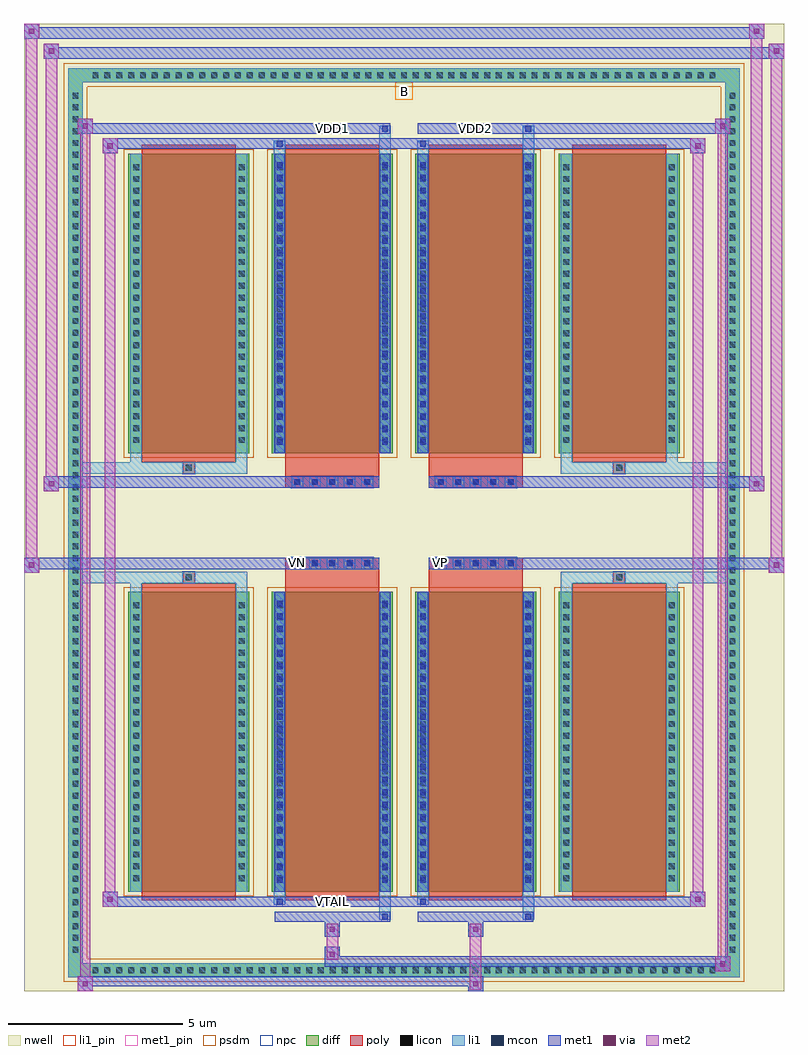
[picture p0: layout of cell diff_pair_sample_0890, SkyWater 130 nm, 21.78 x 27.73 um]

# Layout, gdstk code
import gdstk
lib = gdstk.Library(unit=1e-6, precision=5e-09)
def R(c, l, rs):  # rectangles x0, y0, x1, y1
    for r in rs: c.add(gdstk.rectangle(r[:2], r[2:], *l))
def A(c, l, x, y, w, h, nx, ny, dx, dy):  # array of equal rectangles
    R(c, l, [(x+i*dx, y+j*dy, x+i*dx+w, y+j*dy+h) for i in range(nx) for j in range(ny)])
def P(c, l, *ps):  # polygons
    for p in ps: c.add(gdstk.Polygon(p, *l))
nwell = (64, 20)
diff = (65, 20)
poly = (66, 20)
licon = (66, 44)
li1_pin = (67, 16)
li1 = (67, 20)
mcon = (67, 44)
met1_pin = (68, 16)
met1 = (68, 20)
via = (68, 44)
met2 = (69, 20)
psdm = (94, 20)
npc = (95, 20)

diff_pair_sample_0890 = lib.new_cell('diff_pair_sample_0890')
R(diff_pair_sample_0890, nwell, [(-10.89,-13.43,10.89,14.3), (-8.21,-11.62,-0.01,-0.8), (0.01,-11.62,8.21,-0.8), (-8.21,0.8,-0.01,11.62), (0.01,0.8,8.21,11.62)])
A(diff_pair_sample_0890, diff, -9.045, -13.03, 0.41, 0.41, 53, 2, 0.34, 25.65)
A(diff_pair_sample_0890, diff, -9.62, -12.445, 0.41, 0.41, 1, 73, 0, 0.34)
A(diff_pair_sample_0890, diff, 9.21, -12.445, 0.41, 0.41, 1, 73, 0, 0.34)
A(diff_pair_sample_0890, diff, -7.9, -10.575, 3.47, 8.59, 4, 2, 4.11, 12.56)
R(diff_pair_sample_0890, diff, [(-9.045,-13.03,9.045,-12.62), (-9.62,-12.445,-9.21,12.445), (9.21,-12.445,9.62,12.445), (-9.045,12.62,9.045,13.03)])
P(diff_pair_sample_0890, diff, [(9.62,13.03),(-9.62,13.03),(-9.62,-12.62),(-9.21,-12.62),(-9.21,12.62),(9.21,12.62),(9.21,-12.62),(-9.21,-12.62),(-9.62,-12.62),(-9.62,-13.03),(9.62,-13.03)])
A(diff_pair_sample_0890, poly, -7.51, -10.825, 2.69, 9.09, 4, 2, 4.11, 12.56)
A(diff_pair_sample_0890, poly, -3.22, -1.33, 0.33, 0.33, 5, 2, 0.5, 2.33)
A(diff_pair_sample_0890, poly, 0.89, -1.33, 0.33, 0.33, 5, 2, 0.5, 2.33)
R(diff_pair_sample_0890, poly, [(-6.33,-1.735,-6,-1.405), (-6.33,-1.735,-6,-1.405), (-3.4,-1.735,-0.71,-1.33), (0.71,-1.735,3.4,-1.33), (6,-1.735,6.33,-1.405), (6,-1.735,6.33,-1.405), (-3.4,-1.33,-0.71,-1), (0.71,-1.33,3.4,-1), (-3.4,1,-0.71,1.33), (0.71,1,3.4,1.33), (-3.4,1.33,-0.71,1.735), (0.71,1.33,3.4,1.735), (-6.33,1.405,-6,1.735), (-6.33,1.405,-6,1.735), (6,1.405,6.33,1.735), (6,1.405,6.33,1.735)])
A(diff_pair_sample_0890, licon, -8.925, -12.91, 0.17, 0.17, 53, 2, 0.34, 25.65)
A(diff_pair_sample_0890, licon, -9.5, -12.325, 0.17, 0.17, 1, 73, 0, 0.34)
A(diff_pair_sample_0890, licon, 9.33, -12.325, 0.17, 0.17, 1, 73, 0, 0.34)
A(diff_pair_sample_0890, licon, -7.76, -10.275, 0.17, 0.17, 1, 24, 0, 0.34)
A(diff_pair_sample_0890, licon, -4.74, -10.275, 0.17, 0.17, 1, 24, 0, 0.34)
A(diff_pair_sample_0890, licon, -3.65, -10.275, 0.17, 0.17, 1, 24, 0, 0.34)
A(diff_pair_sample_0890, licon, -0.63, -10.275, 0.17, 0.17, 1, 24, 0, 0.34)
A(diff_pair_sample_0890, licon, 0.46, -10.275, 0.17, 0.17, 1, 24, 0, 0.34)
A(diff_pair_sample_0890, licon, 3.48, -10.275, 0.17, 0.17, 1, 24, 0, 0.34)
A(diff_pair_sample_0890, licon, 4.57, -10.275, 0.17, 0.17, 1, 24, 0, 0.34)
A(diff_pair_sample_0890, licon, 7.59, -10.275, 0.17, 0.17, 1, 24, 0, 0.34)
A(diff_pair_sample_0890, licon, -3.14, -1.25, 0.17, 0.17, 5, 2, 0.5, 2.33)
A(diff_pair_sample_0890, licon, 0.97, -1.25, 0.17, 0.17, 5, 2, 0.5, 2.33)
A(diff_pair_sample_0890, licon, -7.76, 2.285, 0.17, 0.17, 1, 24, 0, 0.34)
A(diff_pair_sample_0890, licon, -4.74, 2.285, 0.17, 0.17, 1, 24, 0, 0.34)
A(diff_pair_sample_0890, licon, -3.65, 2.285, 0.17, 0.17, 1, 24, 0, 0.34)
A(diff_pair_sample_0890, licon, -0.63, 2.285, 0.17, 0.17, 1, 24, 0, 0.34)
A(diff_pair_sample_0890, licon, 0.46, 2.285, 0.17, 0.17, 1, 24, 0, 0.34)
A(diff_pair_sample_0890, licon, 3.48, 2.285, 0.17, 0.17, 1, 24, 0, 0.34)
A(diff_pair_sample_0890, licon, 4.57, 2.285, 0.17, 0.17, 1, 24, 0, 0.34)
A(diff_pair_sample_0890, licon, 7.59, 2.285, 0.17, 0.17, 1, 24, 0, 0.34)
R(diff_pair_sample_0890, licon, [(-6.25,-1.655,-6.08,-1.485), (6.08,-1.655,6.25,-1.485), (-6.25,1.485,-6.08,1.655), (6.08,1.485,6.25,1.655)])
R(diff_pair_sample_0890, li1_pin, [(-0.25,12.12,0.25,12.62)])
A(diff_pair_sample_0890, li1, -9.005, -12.99, 0.33, 0.33, 53, 2, 0.34, 25.65)
A(diff_pair_sample_0890, li1, -9.58, -12.405, 0.33, 0.33, 1, 73, 0, 0.34)
A(diff_pair_sample_0890, li1, 9.25, -12.405, 0.33, 0.33, 1, 73, 0, 0.34)
A(diff_pair_sample_0890, li1, -7.84, -10.355, 0.33, 0.33, 1, 24, 0, 0.34)
A(diff_pair_sample_0890, li1, -4.82, -10.355, 0.33, 0.33, 1, 24, 0, 0.34)
A(diff_pair_sample_0890, li1, -3.73, -10.355, 0.33, 0.33, 1, 24, 0, 0.34)
A(diff_pair_sample_0890, li1, -0.71, -10.355, 0.33, 0.33, 1, 24, 0, 0.34)
A(diff_pair_sample_0890, li1, 0.38, -10.355, 0.33, 0.33, 1, 24, 0, 0.34)
A(diff_pair_sample_0890, li1, 3.4, -10.355, 0.33, 0.33, 1, 24, 0, 0.34)
A(diff_pair_sample_0890, li1, 4.49, -10.355, 0.33, 0.33, 1, 24, 0, 0.34)
A(diff_pair_sample_0890, li1, 7.51, -10.355, 0.33, 0.33, 1, 24, 0, 0.34)
A(diff_pair_sample_0890, li1, -3.65, -10.325, 0.17, 0.17, 1, 23, 0, 0.36)
A(diff_pair_sample_0890, li1, -0.63, -10.325, 0.17, 0.17, 1, 23, 0, 0.36)
A(diff_pair_sample_0890, li1, 0.46, -10.325, 0.17, 0.17, 1, 23, 0, 0.36)
A(diff_pair_sample_0890, li1, 3.48, -10.325, 0.17, 0.17, 1, 23, 0, 0.36)
A(diff_pair_sample_0890, li1, -3.22, -1.33, 0.33, 0.33, 5, 2, 0.5, 2.33)
A(diff_pair_sample_0890, li1, 0.89, -1.33, 0.33, 0.33, 5, 2, 0.5, 2.33)
A(diff_pair_sample_0890, li1, -7.84, 2.205, 0.33, 0.33, 1, 24, 0, 0.34)
A(diff_pair_sample_0890, li1, -4.82, 2.205, 0.33, 0.33, 1, 24, 0, 0.34)
A(diff_pair_sample_0890, li1, -3.73, 2.205, 0.33, 0.33, 1, 24, 0, 0.34)
A(diff_pair_sample_0890, li1, -0.71, 2.205, 0.33, 0.33, 1, 24, 0, 0.34)
A(diff_pair_sample_0890, li1, 0.38, 2.205, 0.33, 0.33, 1, 24, 0, 0.34)
A(diff_pair_sample_0890, li1, 3.4, 2.205, 0.33, 0.33, 1, 24, 0, 0.34)
A(diff_pair_sample_0890, li1, 4.49, 2.205, 0.33, 0.33, 1, 24, 0, 0.34)
A(diff_pair_sample_0890, li1, 7.51, 2.205, 0.33, 0.33, 1, 24, 0, 0.34)
A(diff_pair_sample_0890, li1, -3.65, 2.235, 0.17, 0.17, 1, 23, 0, 0.36)
A(diff_pair_sample_0890, li1, -0.63, 2.235, 0.17, 0.17, 1, 23, 0, 0.36)
A(diff_pair_sample_0890, li1, 0.46, 2.235, 0.17, 0.17, 1, 23, 0, 0.36)
A(diff_pair_sample_0890, li1, 3.48, 2.235, 0.17, 0.17, 1, 23, 0, 0.36)
R(diff_pair_sample_0890, li1, [(-9.62,-13.03,-9.21,-12.62), (-9.62,-13.03,-9.21,-12.62), (-9.21,-13.03,9.21,-12.62), (9.21,-13.03,9.62,-12.62), (9.21,-13.03,9.62,-12.62), (-9.62,-12.62,-9.21,12.62), (9.21,-12.62,9.62,12.62), (-0.71,-11.38,-0.38,-10.575), (-0.63,-11.38,-0.46,-11.21), (3.4,-11.38,3.73,-10.575), (3.48,-11.38,3.65,-11.21), (-3.73,-10.95,-3.4,-10.575), (-3.65,-10.95,-3.48,-10.78), (0.38,-10.95,0.71,-10.575), (0.46,-10.95,0.63,-10.78), (-7.84,-10.575,-7.51,-1.985), (-4.82,-10.575,-4.49,-1.985), (-3.73,-10.575,-3.4,-1.985), (-0.71,-10.575,-0.38,-1.985), (0.38,-10.575,0.71,-1.985), (3.4,-10.575,3.73,-1.985), (4.49,-10.575,4.82,-1.985), (7.51,-10.575,7.84,-1.985), (-3.65,-10.325,-3.48,-2.235), (-0.63,-10.325,-0.46,-2.235), (0.46,-10.325,0.63,-2.235), (3.48,-10.325,3.65,-2.235), (-7.84,-1.985,-7.51,-1.405), (-4.82,-1.985,-4.49,-1.405), (4.49,-1.985,4.82,-1.405), (7.51,-1.985,7.84,-1.405), (-9.62,-1.735,-6.33,-1.405), (-7.84,-1.735,-6.33,-1.405), (-6.33,-1.735,-6,-1.405), (-6,-1.735,-4.49,-1.405), (4.49,-1.735,6,-1.405), (6,-1.735,6.33,-1.405), (6,-1.735,9.62,-1.405), (6.33,-1.735,7.84,-1.405), (-9.62,1.405,-6.33,1.735), (-7.84,1.405,-6.33,1.735), (-7.84,1.405,-7.51,1.985), (-6.33,1.405,-6,1.735), (-6,1.405,-4.49,1.735), (-4.82,1.405,-4.49,1.985), (4.49,1.405,6,1.735), (4.49,1.405,4.82,1.985), (6,1.405,6.33,1.735), (6,1.405,9.62,1.735), (6.33,1.405,7.84,1.735), (7.51,1.405,7.84,1.985), (-7.84,1.985,-7.51,10.575), (-4.82,1.985,-4.49,10.575), (-3.73,1.985,-3.4,10.575), (-0.71,1.985,-0.38,10.575), (0.38,1.985,0.71,10.575), (3.4,1.985,3.73,10.575), (4.49,1.985,4.82,10.575), (7.51,1.985,7.84,10.575), (-3.65,2.235,-3.48,10.325), (-0.63,2.235,-0.46,10.325), (0.46,2.235,0.63,10.325), (3.48,2.235,3.65,10.325), (-3.73,10.575,-3.4,10.95), (-0.71,10.575,-0.38,11.38), (0.38,10.575,0.71,10.95), (3.4,10.575,3.73,11.38), (-3.65,10.78,-3.48,10.95), (0.46,10.78,0.63,10.95), (-0.63,11.21,-0.46,11.38), (3.48,11.21,3.65,11.38), (-9.62,12.62,-9.21,13.03), (-9.62,12.62,-9.21,13.03), (-9.21,12.62,9.21,13.03), (9.21,12.62,9.62,13.03), (9.21,12.62,9.62,13.03)])
A(diff_pair_sample_0890, mcon, -3.65, -10.325, 0.17, 0.17, 1, 23, 0, 0.36)
A(diff_pair_sample_0890, mcon, -0.63, -10.325, 0.17, 0.17, 1, 23, 0, 0.36)
A(diff_pair_sample_0890, mcon, 0.46, -10.325, 0.17, 0.17, 1, 23, 0, 0.36)
A(diff_pair_sample_0890, mcon, 3.48, -10.325, 0.17, 0.17, 1, 23, 0, 0.36)
A(diff_pair_sample_0890, mcon, -3.14, -1.25, 0.17, 0.17, 5, 2, 0.5, 2.33)
A(diff_pair_sample_0890, mcon, 0.97, -1.25, 0.17, 0.17, 5, 2, 0.5, 2.33)
A(diff_pair_sample_0890, mcon, -3.65, 2.235, 0.17, 0.17, 1, 23, 0, 0.36)
A(diff_pair_sample_0890, mcon, -0.63, 2.235, 0.17, 0.17, 1, 23, 0, 0.36)
A(diff_pair_sample_0890, mcon, 0.46, 2.235, 0.17, 0.17, 1, 23, 0, 0.36)
A(diff_pair_sample_0890, mcon, 3.48, 2.235, 0.17, 0.17, 1, 23, 0, 0.36)
R(diff_pair_sample_0890, mcon, [(-0.63,-11.38,-0.46,-11.21), (3.48,-11.38,3.65,-11.21), (-3.65,-10.95,-3.48,-10.78), (0.46,-10.95,0.63,-10.78), (-3.65,10.78,-3.48,10.95), (0.46,10.78,0.63,10.95), (-0.63,11.21,-0.46,11.38), (3.48,11.21,3.65,11.38)])
R(diff_pair_sample_0890, met1_pin, [(-2.19,-10.99,-1.92,-10.72), (-3.19,-1.29,-2.92,-1.02), (0.92,-1.29,1.19,-1.02), (-2.19,11.17,-1.92,11.44), (1.92,11.17,2.19,11.44)])
A(diff_pair_sample_0890, met1, -3.71, -10.385, 0.29, 0.29, 1, 23, 0, 0.36)
A(diff_pair_sample_0890, met1, -0.69, -10.385, 0.29, 0.29, 1, 23, 0, 0.36)
A(diff_pair_sample_0890, met1, 0.4, -10.385, 0.29, 0.29, 1, 23, 0, 0.36)
A(diff_pair_sample_0890, met1, 3.42, -10.385, 0.29, 0.29, 1, 23, 0, 0.36)
A(diff_pair_sample_0890, met1, -3.2, -1.31, 0.29, 0.29, 5, 2, 0.5, 2.33)
A(diff_pair_sample_0890, met1, 0.91, -1.31, 0.29, 0.29, 5, 2, 0.5, 2.33)
A(diff_pair_sample_0890, met1, -3.71, 2.175, 0.29, 0.29, 1, 23, 0, 0.36)
A(diff_pair_sample_0890, met1, -0.69, 2.175, 0.29, 0.29, 1, 23, 0, 0.36)
A(diff_pair_sample_0890, met1, 0.4, 2.175, 0.29, 0.29, 1, 23, 0, 0.36)
A(diff_pair_sample_0890, met1, 3.42, 2.175, 0.29, 0.29, 1, 23, 0, 0.36)
R(diff_pair_sample_0890, met1, [(-9.35,-13.43,-8.92,-13), (1.84,-13.43,2.27,-13), (-9.35,-13.29,2.27,-13), (8.92,-12.86,9.35,-12.43), (-2.27,-12.72,9.35,-12.43), (-2.27,-12.58,-1.84,-12.15), (-2.27,-11.87,-1.84,-11.44), (1.84,-11.87,2.27,-11.44), (-3.71,-11.44,-0.4,-11.15), (-0.69,-11.44,-0.4,-11.15), (0.4,-11.44,3.71,-11.15), (3.42,-11.44,3.71,-11.15), (-8.64,-11.01,-8.21,-10.58), (-8.64,-11.01,-3.71,-10.72), (-3.71,-11.01,-3.42,-10.72), (-3.71,-11.01,-0.4,-10.72), (-0.4,-11.01,0.4,-10.72), (0.4,-11.01,0.69,-10.72), (0.4,-11.01,3.71,-10.72), (3.71,-11.01,8.64,-10.72), (8.21,-11.01,8.64,-10.58), (-3.71,-10.575,-3.42,-1.985), (-0.69,-10.575,-0.4,-1.985), (0.4,-10.575,0.69,-1.985), (3.42,-10.575,3.71,-1.985), (-10.89,-1.43,-10.46,-1), (10.46,-1.43,10.89,-1), (-10.89,-1.33,-0.71,-1), (-3.4,-1.33,-0.71,-1), (0.71,-1.33,3.4,-1), (0.71,-1.33,10.89,-1), (-10.32,0.9,-9.89,1.33), (9.89,0.9,10.32,1.33), (-10.32,1,-3.4,1.33), (-3.4,1,-0.71,1.33), (0.71,1,3.4,1.33), (3.4,1,10.32,1.33), (-3.71,1.985,-3.42,10.575), (-0.69,1.985,-0.4,10.575), (0.4,1.985,0.69,10.575), (3.42,1.985,3.71,10.575), (-8.64,10.58,-8.21,11.01), (8.21,10.58,8.64,11.01), (-8.64,10.72,-3.71,11.01), (-3.71,10.72,-3.42,11.01), (-3.71,10.72,-0.4,11.01), (-0.4,10.72,0.4,11.01), (0.4,10.72,0.69,11.01), (0.4,10.72,3.71,11.01), (3.71,10.72,8.64,11.01), (-9.35,11.15,-8.92,11.58), (-9.35,11.15,-3.71,11.44), (-3.71,11.15,-0.4,11.44), (-0.69,11.15,-0.4,11.44), (0.4,11.15,3.71,11.44), (3.42,11.15,3.71,11.44), (3.71,11.15,9.35,11.44), (8.92,11.15,9.35,11.58), (-10.32,13.3,-9.89,13.73), (-10.32,13.3,-8.21,13.63), (-8.21,13.3,8.21,13.63), (8.21,13.3,10.89,13.63), (10.46,13.3,10.89,13.73), (-10.89,13.87,-10.46,14.3), (-10.89,13.87,-8.21,14.2), (-8.21,13.87,8.21,14.2), (8.21,13.87,10.32,14.2), (9.89,13.87,10.32,14.3)])
R(diff_pair_sample_0890, via, [(-9.21,-13.29,-9.06,-13.14), (1.98,-13.29,2.13,-13.14), (9.06,-12.72,9.21,-12.57), (-2.13,-12.44,-1.98,-12.29), (-2.13,-11.73,-1.98,-11.58), (1.98,-11.73,2.13,-11.58), (-8.5,-10.87,-8.35,-10.72), (8.35,-10.87,8.5,-10.72), (-10.75,-1.29,-10.6,-1.14), (10.6,-1.29,10.75,-1.14), (-10.18,1.04,-10.03,1.19), (10.03,1.04,10.18,1.19), (-8.5,10.72,-8.35,10.87), (8.35,10.72,8.5,10.87), (-9.21,11.29,-9.06,11.44), (9.06,11.29,9.21,11.44), (-10.18,13.44,-10.03,13.59), (10.6,13.44,10.75,13.59), (-10.75,14.01,-10.6,14.16), (10.03,14.01,10.18,14.16)])
R(diff_pair_sample_0890, met2, [(-9.35,-13.43,-8.92,-13), (-9.28,-13.43,-8.99,11.58), (-8.99,-13.43,-8.92,-13), (-9.3,-13.38,-8.97,-13.05), (1.89,-13.38,2.22,-13.05), (1.89,-13.05,2.22,-11.82), (8.92,-12.86,9.35,-12.43), (8.99,-12.86,9.28,11.58), (9.28,-12.86,9.35,-12.43), (8.97,-12.81,9.3,-12.48), (-2.22,-12.53,-1.89,-12.2), (-2.22,-12.2,-1.89,-11.82), (-2.22,-11.82,-1.89,-11.49), (1.89,-11.82,2.22,-11.49), (-8.64,-11.01,-8.21,-10.58), (-8.57,-11.01,-8.28,11.01), (-8.28,-11.01,-8.21,-10.58), (8.21,-11.01,8.64,-10.58), (8.28,-11.01,8.57,11.01), (8.57,-11.01,8.64,-10.58), (-8.59,-10.96,-8.26,-10.63), (8.26,-10.96,8.59,-10.63), (-10.89,-1.43,-10.46,-1), (-10.84,-1.43,-10.51,14.3), (-10.51,-1.43,-10.46,-1), (10.46,-1.43,10.89,-1), (10.51,-1.43,10.84,13.73), (10.84,-1.43,10.89,-1), (-10.84,-1.38,-10.51,-1.05), (10.51,-1.38,10.84,-1.05), (-10.32,0.9,-9.89,1.33), (-10.27,0.9,-9.94,13.73), (-9.94,0.9,-9.89,1.33), (9.89,0.9,10.32,1.33), (9.94,0.9,10.27,14.3), (10.27,0.9,10.32,1.33), (-10.27,0.95,-9.94,1.28), (9.94,0.95,10.27,1.28), (-8.64,10.58,-8.21,11.01), (-8.28,10.58,-8.21,11.01), (8.21,10.58,8.64,11.01), (8.57,10.58,8.64,11.01), (-8.59,10.63,-8.26,10.96), (8.26,10.63,8.59,10.96), (-9.35,11.15,-8.92,11.58), (-8.99,11.15,-8.92,11.58), (8.92,11.15,9.35,11.58), (9.28,11.15,9.35,11.58), (-9.3,11.2,-8.97,11.53), (8.97,11.2,9.3,11.53), (-10.32,13.3,-9.89,13.73), (-9.94,13.3,-9.89,13.73), (10.46,13.3,10.89,13.73), (10.84,13.3,10.89,13.73), (-10.27,13.35,-9.94,13.68), (10.51,13.35,10.84,13.68), (-10.89,13.87,-10.46,14.3), (-10.51,13.87,-10.46,14.3), (9.89,13.87,10.32,14.3), (10.27,13.87,10.32,14.3), (-10.84,13.92,-10.51,14.25), (9.94,13.92,10.27,14.25)])
A(diff_pair_sample_0890, psdm, -8.03, -10.705, 3.73, 8.85, 4, 2, 4.11, 12.56)
P(diff_pair_sample_0890, psdm, [(9.75,13.16),(-9.75,13.16),(-9.75,-12.49),(-9.08,-12.49),(-9.08,12.49),(9.08,12.49),(9.08,-12.49),(-9.08,-12.49),(-9.75,-12.49),(-9.75,-13.16),(9.75,-13.16)])
A(diff_pair_sample_0890, npc, -3.24, -1.35, 0.37, 0.37, 5, 2, 0.5, 2.33)
A(diff_pair_sample_0890, npc, 0.87, -1.35, 0.37, 0.37, 5, 2, 0.5, 2.33)
R(diff_pair_sample_0890, npc, [(-6.35,-1.755,-5.98,-1.385), (5.98,-1.755,6.35,-1.385), (-3.24,-1.35,-2.37,-0.98), (-3.24,-1.35,-2.37,-0.98), (-2.74,-1.35,-1.87,-0.98), (-2.74,-1.35,-1.87,-0.98), (-2.24,-1.35,-1.37,-0.98), (-2.24,-1.35,-1.37,-0.98), (-1.74,-1.35,-0.87,-0.98), (-1.74,-1.35,-0.87,-0.98), (0.87,-1.35,1.74,-0.98), (0.87,-1.35,1.74,-0.98), (1.37,-1.35,2.24,-0.98), (1.37,-1.35,2.24,-0.98), (1.87,-1.35,2.74,-0.98), (1.87,-1.35,2.74,-0.98), (2.37,-1.35,3.24,-0.98), (2.37,-1.35,3.24,-0.98), (-3.24,0.98,-2.37,1.35), (-3.24,0.98,-2.37,1.35), (-2.74,0.98,-1.87,1.35), (-2.74,0.98,-1.87,1.35), (-2.24,0.98,-1.37,1.35), (-2.24,0.98,-1.37,1.35), (-1.74,0.98,-0.87,1.35), (-1.74,0.98,-0.87,1.35), (0.87,0.98,1.74,1.35), (0.87,0.98,1.74,1.35), (1.37,0.98,2.24,1.35), (1.37,0.98,2.24,1.35), (1.87,0.98,2.74,1.35), (1.87,0.98,2.74,1.35), (2.37,0.98,3.24,1.35), (2.37,0.98,3.24,1.35), (-6.35,1.385,-5.98,1.755), (5.98,1.385,6.35,1.755)])
diff_pair_sample_0890.add(gdstk.Label('VTAIL', (-2.055,-10.855), layer=68, texttype=5))
diff_pair_sample_0890.add(gdstk.Label('VN', (-3.055,-1.155), layer=68, texttype=5))
diff_pair_sample_0890.add(gdstk.Label('VP', (1.055,-1.155), layer=68, texttype=5))
diff_pair_sample_0890.add(gdstk.Label('B', (0,12.37), layer=67, texttype=5))
diff_pair_sample_0890.add(gdstk.Label('VDD2', (2.055,11.305), layer=68, texttype=5))
diff_pair_sample_0890.add(gdstk.Label('VDD1', (-2.055,11.305), layer=68, texttype=5))

lib.write_gds('diff_pair_sample_0890.gds')
